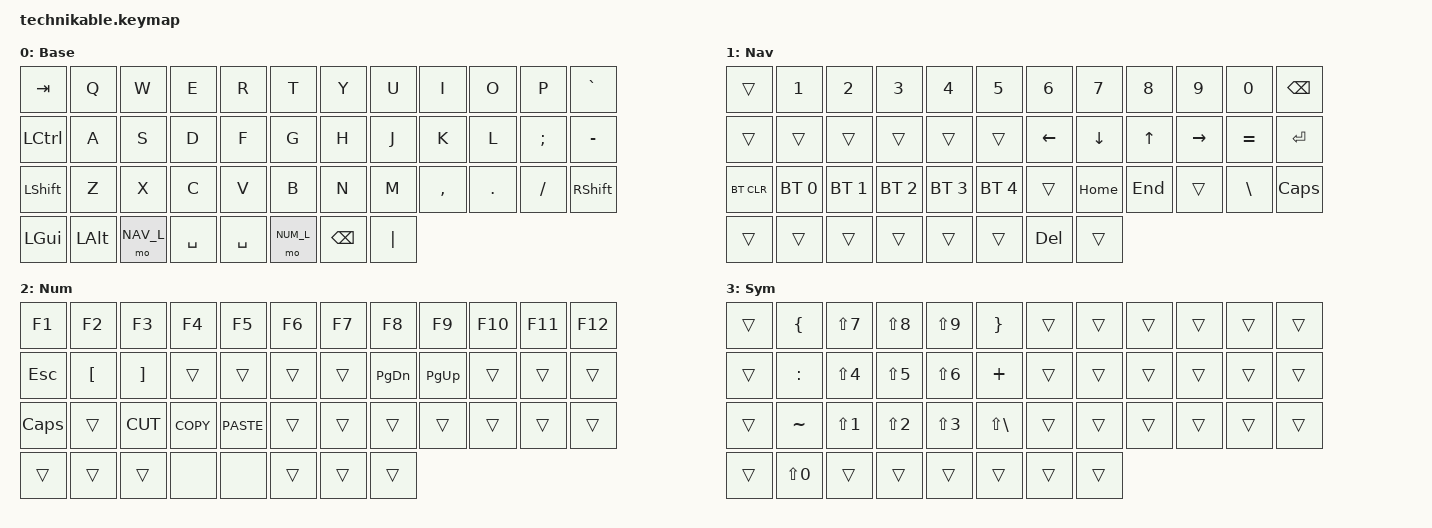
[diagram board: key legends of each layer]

/*
 * Copyright (c) 2022 Pete Johanson
 *
 * SPDX-License-Identifier: MIT
 */

#include <behaviors.dtsi>
#include <dt-bindings/zmk/bt.h>
#include <dt-bindings/zmk/keys.h>
#include <dt-bindings/zmk/outputs.h>

#define BAS_L 0
#define NAV_L 1
#define NUM_L 2
#define SYM_L 3

// Using layer taps on thumbs, having quick tap as well helps w/ repeating space/backspace

&lt { quick_tap_ms = <200>; };

/ {
    chosen { zmk,matrix_transform = &ortho_transform; };

    conditional_layers {
        compatible = "zmk,conditional-layers";

        tri_layer {
            if-layers = <NAV_L NUM_L>;
            then-layer = <SYM_L>;
        };
    };

    keymap {
        compatible = "zmk,keymap";

        base_layer {
            label = "Base";
            bindings = <
&kp TAB       &kp Q         &kp W      &kp E      &kp R      &kp T      &kp Y          &kp U     &kp I      &kp O    &kp P     &kp GRAVE
&kp LCTRL     &kp A         &kp S      &kp D      &kp F      &kp G      &kp H          &kp J     &kp K      &kp L    &kp SEMI  &kp MINUS
&kp LSHFT     &kp Z         &kp X      &kp C      &kp V      &kp B      &kp N          &kp M     &kp COMMA  &kp DOT  &kp FSLH  &kp RIGHT_SHIFT
&kp LEFT_GUI  &kp LEFT_ALT  &mo NAV_L  &kp SPACE  &kp SPACE  &mo NUM_L  &kp BACKSPACE  &kp PIPE
            >;
        };

        nav_layer {
            label = "Nav";
            bindings = <
&trans      &kp NUMBER_1  &kp NUMBER_2  &kp NUMBER_3  &kp NUMBER_4  &kp NUMBER_5  &kp NUMBER_6    &kp NUMBER_7    &kp NUMBER_8  &kp NUMBER_9     &kp NUMBER_0   &kp BACKSPACE
&trans      &trans        &trans        &trans        &trans        &trans        &kp LEFT_ARROW  &kp DOWN_ARROW  &kp UP_ARROW  &kp RIGHT_ARROW  &kp EQUAL      &kp ENTER
&bt BT_CLR  &bt BT_SEL 0  &bt BT_SEL 1  &bt BT_SEL 2  &bt BT_SEL 3  &bt BT_SEL 4  &trans          &kp HOME        &kp END       &trans           &kp BACKSLASH  &kp CAPSLOCK
&trans      &trans        &trans        &trans        &trans        &trans        &kp DELETE      &trans
            >;
        };

        num_layer {
            label = "Num";
            bindings = <
&kp F1        &kp F2            &kp F3             &kp F4      &kp F5       &kp F6  &kp F7  &kp F8         &kp F9       &kp F10  &kp F11  &kp F12
&kp ESCAPE    &kp LEFT_BRACKET  &kp RIGHT_BRACKET  &trans      &trans       &trans  &trans  &kp PAGE_DOWN  &kp PAGE_UP  &trans   &trans   &trans
&kp CAPSLOCK  &trans            &kp K_CUT          &kp K_COPY  &kp K_PASTE  &trans  &trans  &trans         &trans       &trans   &trans   &trans
&trans        &trans            &trans             &none       &none        &trans  &trans  &trans
            >;
        };

        sym_layer {
            label = "Sym";
            bindings = <
&trans  &kp LBRC    &kp LS(N7)  &kp LS(N8)  &kp LS(N9)  &kp RBRC      &trans  &trans  &trans  &trans  &trans  &trans
&trans  &kp COLON   &kp LS(N4)  &kp LS(N5)  &kp LS(N6)  &kp PLUS      &trans  &trans  &trans  &trans  &trans  &trans
&trans  &kp TILDE   &kp LS(N1)  &kp LS(N2)  &kp LS(N3)  &kp LS(BSLH)  &trans  &trans  &trans  &trans  &trans  &trans
&trans  &kp LS(N0)  &trans      &trans      &trans      &trans        &trans  &trans
            >;
        };
    };
};
